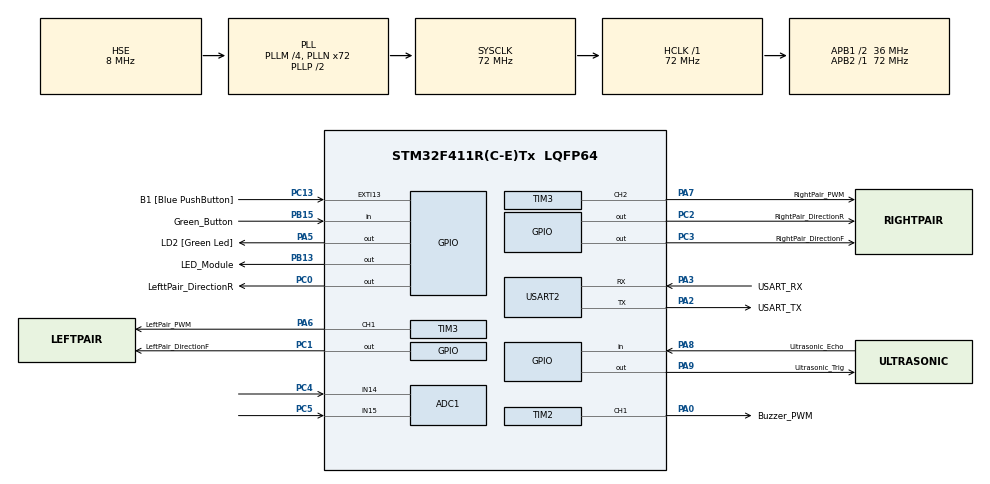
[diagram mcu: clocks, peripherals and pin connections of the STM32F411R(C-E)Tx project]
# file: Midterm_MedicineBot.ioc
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ADC1.Channel-0\#ChannelRegularConversion=ADC_CHANNEL_14
ADC1.NbrOfConversionFlag=1
ADC1.Rank-0\#ChannelRegularConversion=1
ADC1.SamplingTime-0\#ChannelRegularConversion=ADC_SAMPLETIME_3CYCLES
ADC1.master=1
FREERTOS.Tasks01=defaultTask,24,128,StartDefaultTask,Default,NULL,Dynamic,NULL,NULL
Mcu.Family=STM32F4
Mcu.Name=STM32F411R(C-E)Tx
Mcu.Package=LQFP64
NVIC.PriorityGroup=NVIC_PRIORITYGROUP_4
NVIC.TIM4_IRQn=true\:15\:0\:false\:false\:true\:false\:false\:true\:true
NVIC.TimeBase=TIM4_IRQn
NVIC.TimeBaseIP=TIM4
PA0-WKUP.GPIO_Label=Buzzer_PWM
PA0-WKUP.Signal=S_TIM2_CH1_ETR
PA13.GPIO_Label=TMS
PA13.Mode=Serial_Wire
PA13.Signal=SYS_JTMS-SWDIO
PA14.GPIO_Label=TCK
PA14.Mode=Serial_Wire
PA14.Signal=SYS_JTCK-SWCLK
PA2.GPIO_Label=USART_TX
PA2.Mode=Asynchronous
PA2.Signal=USART2_TX
PA3.GPIO_Label=USART_RX
PA3.Mode=Asynchronous
PA3.Signal=USART2_RX
PA5.GPIO_Label=LD2 [Green Led]
PA5.Signal=GPIO_Output
PA6.GPIO_Label=LeftPair_PWM
PA6.Signal=S_TIM3_CH1
PA7.GPIO_Label=RightPair_PWM
PA7.Signal=S_TIM3_CH2
PA8.GPIO_Label=Ultrasonic_Echo
PA8.Signal=GPIO_Input
PA9.GPIO_Label=Ultrasonic_Trig
PA9.Signal=GPIO_Output
PB13.GPIO_Label=LED_Module
PB13.Signal=GPIO_Output
PB15.GPIO_Label=Green_Button
PB15.Signal=GPIO_Input
PB3.GPIO_Label=SWO
PB3.Signal=SYS_JTDO-SWO
PC0.GPIO_Label=LefttPair_DirectionR
PC0.Signal=GPIO_Output
PC1.GPIO_Label=LeftPair_DirectionF
PC1.Signal=GPIO_Output
PC13-ANTI_TAMP.GPIO_Label=B1 [Blue PushButton]
PC13-ANTI_TAMP.GPIO_ModeDefaultEXTI=GPIO_MODE_IT_FALLING
PC13-ANTI_TAMP.Signal=GPXTI13
PC14-OSC32_IN.Signal=RCC_OSC32_IN
PC15-OSC32_OUT.Signal=RCC_OSC32_OUT
PC2.GPIO_Label=RightPair_DirectionR
PC2.Signal=GPIO_Output
PC3.GPIO_Label=RightPair_DirectionF
PC3.Signal=GPIO_Output
PC4.Signal=ADCx_IN14
PC5.Signal=ADCx_IN15
PH0\ -\ OSC_IN.Mode=HSE-External-Oscillator
PH0\ -\ OSC_IN.Signal=RCC_OSC_IN
PH1\ -\ OSC_OUT.Mode=HSE-External-Oscillator
PH1\ -\ OSC_OUT.Signal=RCC_OSC_OUT
ProjectManager.HeapSize=0x200
ProjectManager.StackSize=0x400
ProjectManager.TargetToolchain=STM32CubeIDE
RCC.48MHZClocksFreq_Value=36000000
RCC.AHBFreq_Value=72000000
RCC.APB1CLKDivider=RCC_HCLK_DIV2
RCC.APB1Freq_Value=36000000
RCC.APB1TimFreq_Value=72000000
RCC.APB2Freq_Value=72000000
RCC.APB2TimFreq_Value=72000000
RCC.CortexFreq_Value=72000000
RCC.FLatency-AdvancedSettings=FLASH_LATENCY_2
RCC.HCLKFreq_Value=72000000
RCC.HSE_VALUE=8000000
RCC.HSI_VALUE=16000000
RCC.LSE_VALUE=32768
RCC.PLLM=4
RCC.PLLN=72
RCC.PLLSourceVirtual=RCC_PLLSOURCE_HSE
RCC.SYSCLKFreq_VALUE=72000000
RCC.SYSCLKSource=RCC_SYSCLKSOURCE_PLLCLK
RCC.VCOOutputFreq_Value=144000000
SH.ADCx_IN14.0=ADC1_IN14,IN14
SH.ADCx_IN15.0=ADC1_IN15,IN15
SH.S_TIM2_CH1_ETR.0=TIM2_CH1,PWM Generation1 CH1
SH.S_TIM3_CH1.0=TIM3_CH1,PWM Generation1 CH1
SH.S_TIM3_CH2.0=TIM3_CH2,PWM Generation2 CH2
TIM1.AutoReloadPreload=TIM_AUTORELOAD_PRELOAD_ENABLE
TIM1.Period=65535
TIM1.Prescaler=71
TIM2.AutoReloadPreload=TIM_AUTORELOAD_PRELOAD_ENABLE
TIM2.Channel-PWM\ Generation1\ CH1=TIM_CHANNEL_1
TIM2.Period=65535
TIM2.Prescaler=71
TIM3.AutoReloadPreload=TIM_AUTORELOAD_PRELOAD_ENABLE
TIM3.Channel-PWM\ Generation1\ CH1=TIM_CHANNEL_1
TIM3.Channel-PWM\ Generation2\ CH2=TIM_CHANNEL_2
TIM3.Period=4095
TIM3.Prescaler=71
USART2.VirtualMode=VM_ASYNC
VP_FREERTOS_VS_CMSIS_V2.Mode=CMSIS_V2
VP_SYS_VS_tim4.Mode=TIM4
VP_TIM1_VS_ClockSourceINT.Mode=Internal
VP_TIM2_VS_ClockSourceINT.Mode=Internal
VP_TIM3_VS_ClockSourceINT.Mode=Internal
board=NUCLEO-F411RE

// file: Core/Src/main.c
/* USER CODE BEGIN Header */
/**
  ******************************************************************************
  * @file           : main.c
  * @brief          : Main program body
  ******************************************************************************
  * @attention
  *
  * Copyright (c) 2024 STMicroelectronics.
  * All rights reserved.
  *
  * This software is licensed under terms that can be found in the LICENSE file
  * in the root directory of this software component.
  * If no LICENSE file comes with this software, it is provided AS-IS.
  *
  ******************************************************************************
  */
/* USER CODE END Header */
#include "main.h"
#include "cmsis_os.h"
#include <string.h>
#include <stdio.h>

ADC_HandleTypeDef hadc1;

TIM_HandleTypeDef htim1;
TIM_HandleTypeDef htim2;
TIM_HandleTypeDef htim3;

UART_HandleTypeDef huart2;

/* Definitions for defaultTask */
osThreadId_t defaultTaskHandle;
const osThreadAttr_t defaultTask_attributes = {
  .name = "defaultTask",
  .stack_size = 128 * 4,
  .priority = (osPriority_t) osPriorityNormal,
};
/* USER CODE BEGIN PV */
volatile int status = 1;
volatile int lineTrackerLeft_Found = 0;
volatile int lineTrackerRight_Found = 0;

// For ULTRASONIC SENSOR measurements
#define TRIG_PIN GPIO_PIN_9
#define TRIG_PORT GPIOA
#define ECHO_PIN GPIO_PIN_8
#define ECHO_PORT GPIOA
uint32_t pMillis;
uint32_t Value1 = 0;
uint32_t Value2 = 0;
volatile uint16_t Distance  = 0;  // cm; //in a unit of cm
uint16_t currentDistance = 0;
uint16_t distanceLimit = 10; //in a unit of cm
// For LINE TRACKING sensor
volatile uint16_t lineL, lineR;
// For BUZZER melody
uint32_t OctaveFourCMajor[8] = {262, 294, 330, 349, 392, 440, 493, 523};
uint32_t OctaveFourCSharpMajor[8] = {277, 311, 349, 370, 415, 466, 523, 554};
uint32_t SingleMelody[1] = {415};
uint32_t WarningMelody[1] = {349};
uint32_t ExampleMelody[3] = {277, 349, 415};
uint8_t NoteIndex = 0;

// MULTITASKING handles
osThreadId_t measureDistanceHandle;
osThreadId_t detectLineHandle;
osThreadId_t buzzerMelodyHandle;
osThreadId_t blinkLEDHandle;

static void measureDistance() {
	// This function keeps running all the time
	while (1) {
		HAL_GPIO_WritePin(TRIG_PORT, TRIG_PIN, GPIO_PIN_SET);  // pull the TRIG pin HIGH
		__HAL_TIM_SET_COUNTER(&htim1, 0);
		while (__HAL_TIM_GET_COUNTER (&htim1) < 10);  // wait for 10 us
		HAL_GPIO_WritePin(TRIG_PORT, TRIG_PIN, GPIO_PIN_RESET);  // pull the TRIG pin low

		pMillis = HAL_GetTick(); // used this to avoid infinite while loop  (for timeout)
		// wait for the echo pin to go high
		while (!(HAL_GPIO_ReadPin (ECHO_PORT, ECHO_PIN)) && pMillis + 10 >  HAL_GetTick());
		Value1 = __HAL_TIM_GET_COUNTER (&htim1);

		pMillis = HAL_GetTick(); // used this to avoid infinite while loop (for timeout)
		// wait for the echo pin to go low
		while ((HAL_GPIO_ReadPin (ECHO_PORT, ECHO_PIN)) && pMillis + 50 > HAL_GetTick());
		Value2 = __HAL_TIM_GET_COUNTER (&htim1);

		Distance = (Value2-Value1)* 0.034/2;
		osDelay(10);
	}
}
static void detectLine() {
    uint32_t lineL, lineR;
    const uint32_t threshold = 300;  // Set threshold for black/white detection

    while (1) {

    	ADC_ChannelConfTypeDef sConfig = {0};
    		  /** Configure for the selected ADC regular channel its corresponding rank in the sequencer and its sample time.
    		  */
    		  sConfig.Channel = ADC_CHANNEL_14;
    		  sConfig.Rank = 1;
    		  //sConfig.SamplingTime = ADC_SAMPLETIME_28CYCLES;
    		  if (HAL_ADC_ConfigChannel(&hadc1, &sConfig) != HAL_OK)
    		  {
    		    Error_Handler();
    		  }
	    	HAL_ADC_Start(&hadc1);

	    	if (HAL_ADC_PollForConversion(&hadc1, 1000) == HAL_OK)
	    	{
	    		lineL = HAL_ADC_GetValue(&hadc1);
	    	}

	    	ADC_ChannelConfTypeDef sConfig2 = {0};
	    		  /** Configure for the selected ADC regular channel its corresponding rank in the sequencer and its sample time.
	    		  */
	    		  sConfig2.Channel = ADC_CHANNEL_15;
	    		  sConfig2.Rank = 2;
	    		  //sConfig.SamplngTime = ADC_SAMPLETIME_28CYCLES;
	    		  if (HAL_ADC_ConfigChannel(&hadc1, &sConfig2) != HAL_OK)
	    		  {
	    		    Error_Handler();
	    		  }
	    	HAL_ADC_Start(&hadc1);

	    	// Poll for conversion for the second channel
	    	if (HAL_ADC_PollForConversion(&hadc1, 1000) == HAL_OK)
	    	{
	    		lineR = HAL_ADC_GetValue(&hadc1);
	    	}

	    	lineTrackerLeft_Found = lineL;
	    	lineTrackerRight_Found = lineR;
//
//        if (lineL < threshold && lineR >= threshold) {
//        	lineTrackerLeft_Found = 0;
//        	lineTrackerRight_Found = 1;
//        }
//        else if (lineR < threshold && lineL >= threshold) {
//        	lineTrackerLeft_Found = 1;
//        	lineTrackerRight_Found = 0;
//        }
//        else if (lineL >= threshold && lineR >= threshold) {
//        	lineTrackerLeft_Found = 0;
//        	lineTrackerRight_Found = 0;
//        }
//        else if (lineL < threshold && lineR < threshold) {
//        	lineTrackerLeft_Found = 1;
//        	lineTrackerRight_Found = 1;
//        }

        osDelay(5);
    }
}

static void Tone(uint32_t Frequency, uint32_t Duration, int Volume) {
	TIM2->ARR = (1000000UL / Frequency) - 1; //Setting the PWM Frequency
	TIM2->CCR1 = (TIM2->ARR / 2 * Volume / 100); //Setting duty cycle to 50% (volume depending on frequency)
	HAL_Delay(Duration);
}

static void noTone() {
	TIM2->CCR1 = 0; //Mute by setting duty cycle 0%
}

static void buzzerMelody() {
	if (status == 1) {
		while (status == 1) {
			Tone(ExampleMelody[NoteIndex++], 250, 50);
			if (NoteIndex == 3) {
			  NoteIndex = 0;
			  noTone();
			  osDelay(2000);
			}
			osDelay(1000);
		}
	}
	else {
		noTone();
	}
}

static void blinkLED() {
	HAL_GPIO_WritePin(GPIOB, GPIO_PIN_13, GPIO_PIN_SET);
	if (status == 1) {
		while (status == 1) {
			HAL_GPIO_TogglePin(GPIOB, GPIO_PIN_13);
			osDelay(1000);
		}
		HAL_GPIO_WritePin(GPIOB, GPIO_PIN_13, GPIO_PIN_SET);
	}
}
// For SERIAL OUTPUT
char msg[256];
/* USER CODE END PV */

void SystemClock_Config(void);
static void MX_GPIO_Init(void);
static void MX_USART2_UART_Init(void);
static void MX_TIM1_Init(void);
static void MX_TIM3_Init(void);
static void MX_TIM2_Init(void);
static void MX_ADC1_Init(void);
void StartDefaultTask(void *argument);

/* USER CODE BEGIN PFP */
void driveCar(float powerL, float powerR, int direction);
static void Tone(uint32_t Frequency, uint32_t Duration, int Volume);
static void noTone();
static void detectLine();
/* USER CODE END PFP */

/* USER CODE BEGIN 0 */
void driveCar(float powerL, float powerR, int direction) {
	//Change the DIRECTION of the car
	switch (direction) {
	case 0: //Reverse direction
		HAL_GPIO_WritePin(GPIOC, GPIO_PIN_0, GPIO_PIN_RESET); //LEFT pair REVERSE off
		HAL_GPIO_WritePin(GPIOC, GPIO_PIN_1, GPIO_PIN_SET); //LEFT pair FORWARD on
		HAL_GPIO_WritePin(GPIOC, GPIO_PIN_2, GPIO_PIN_SET); //RIGHT pair reverse off
		HAL_GPIO_WritePin(GPIOC, GPIO_PIN_3, GPIO_PIN_RESET); //RIGHT pair forward on
	case 1: //Forward direction
		HAL_GPIO_WritePin(GPIOC, GPIO_PIN_0, GPIO_PIN_SET); //LEFT pair REVERSE off
		HAL_GPIO_WritePin(GPIOC, GPIO_PIN_1, GPIO_PIN_RESET); //LEFT pair FORWARD on
		HAL_GPIO_WritePin(GPIOC, GPIO_PIN_2, GPIO_PIN_RESET); //RIGHT pair reverse off
		HAL_GPIO_WritePin(GPIOC, GPIO_PIN_3, GPIO_PIN_SET); //RIGHT pair forward on
	}
	//Change the POWER OUTPUT of the car
	TIM3->CCR1 = 4095 * (powerL/100); //Duty time output per 100% power for LEFT pair
	TIM3->CCR2 = 4095 * (powerR/100); //Duty time output per 100% power for RIGHT pair
}

/* USER CODE END 0 */

int main(void)
{

  /* MCU Configuration--------------------------------------------------------*/

  /* Reset of all peripherals, Initializes the Flash interface and the Systick. */
  HAL_Init();

  /* Configure the system clock */
  SystemClock_Config();

  /* Initialize all configured peripherals */
  MX_GPIO_Init();
  MX_USART2_UART_Init();
  MX_TIM1_Init();
  MX_TIM3_Init();
  MX_TIM2_Init();
  MX_ADC1_Init();
  /* USER CODE BEGIN 2 */
  // Initialization for BUZZER
  HAL_TIM_PWM_Start(&htim2, TIM_CHANNEL_1); //For BUZZER
  // Initialization for WHEEL MOTORS
  HAL_TIM_PWM_Start(&htim3, TIM_CHANNEL_1); //For LEFT PWM
  HAL_TIM_PWM_Start(&htim3, TIM_CHANNEL_2); //For RIGHT PWM
  //driveCar(80, 80, 1);
  // Initialization for ULTRASONIC SENSOR
  HAL_TIM_Base_Start(&htim1);
  HAL_GPIO_WritePin(TRIG_PORT, TRIG_PIN, GPIO_PIN_RESET); //pulls TRIG pin to LOW
  // Variables
  /* USER CODE END 2 */

  /* Init scheduler */
  osKernelInitialize();

  /* Create the thread(s) */
  /* creation of defaultTask */
  defaultTaskHandle = osThreadNew(StartDefaultTask, NULL, &defaultTask_attributes);

  /* USER CODE BEGIN RTOS_THREADS */
  /* add threads, ... */
//  const osThreadAttr_t measureDistance_attributes = {
//		  .name = "measureDistance",
//		  .priority = (osPriority_t) osPriorityNormal,
//		  .stack_size = 128
//  };

//  const osThreadAttr_t detectLine_attributes = {
//		  .name = "detectLine",
//		  .priority = (osPriority_t) osPriorityNormal,
//		  .stack_size = 128
//  };
//
//  const osThreadAttr_t buzzerMelody_attributes = {
//		  .name = "buzzerMelody",
//		  .priority = (osPriority_t) osPriorityNormal,
//		  .stack_size = 128
//  };
////
//  const osThreadAttr_t blinkLED_attributes = {
//		  .name = "blinkLED",
//		  .priority = (osPriority_t) osPriorityNormal,
//		  .stack_size = 128
//  };
//
    //measureDistanceHandle = osThreadNew(measureDistance, NULL, &measureDistance_attributes);
//    //detectLineHandle = osThreadNew(detectLine, NULL, &detectLine_attributes);
//	  buzzerMelodyHandle = osThreadNew(buzzerMelody, NULL, &buzzerMelody_attributes);
//	  blinkLEDHandle = osThreadNew(blinkLED, NULL, &blinkLED_attributes);
  /* USER CODE END RTOS_THREADS */

  /* Start scheduler */
  osKernelStart();

  /* We should never get here as control is now taken by the scheduler */

  /* Infinite loop */
  /* USER CODE BEGIN WHILE */
  //while (1)
  //{
//	  HAL_Delay(50);
//
//	  detectLine();
//	  HAL_Delay(50);
//	  sprintf(msg, "hello world\r\n");
//	  HAL_UART_Transmit(&huart2, (uint8_t*)msg, strlen(msg), 1000);
    /* USER CODE END WHILE */

    /* USER CODE BEGIN 3 */
  //}
  /* USER CODE END 3 */
}

void SystemClock_Config(void)
{
  RCC_OscInitTypeDef RCC_OscInitStruct = {0};
  RCC_ClkInitTypeDef RCC_ClkInitStruct = {0};

  /** Configure the main internal regulator output voltage
  */
  __HAL_RCC_PWR_CLK_ENABLE();
  __HAL_PWR_VOLTAGESCALING_CONFIG(PWR_REGULATOR_VOLTAGE_SCALE1);

  /** Initializes the RCC Oscillators according to the specified parameters
  * in the RCC_OscInitTypeDef structure.
  */
  RCC_OscInitStruct.OscillatorType = RCC_OSCILLATORTYPE_HSE;
  RCC_OscInitStruct.HSEState = RCC_HSE_ON;
  RCC_OscInitStruct.PLL.PLLState = RCC_PLL_ON;
  RCC_OscInitStruct.PLL.PLLSource = RCC_PLLSOURCE_HSE;
  RCC_OscInitStruct.PLL.PLLM = 4;
  RCC_OscInitStruct.PLL.PLLN = 72;
  RCC_OscInitStruct.PLL.PLLP = RCC_PLLP_DIV2;
  RCC_OscInitStruct.PLL.PLLQ = 4;
  if (HAL_RCC_OscConfig(&RCC_OscInitStruct) != HAL_OK)
  {
    Error_Handler();
  }

  /** Initializes the CPU, AHB and APB buses clocks
  */
  RCC_ClkInitStruct.ClockType = RCC_CLOCKTYPE_HCLK|RCC_CLOCKTYPE_SYSCLK
                              |RCC_CLOCKTYPE_PCLK1|RCC_CLOCKTYPE_PCLK2;
  RCC_ClkInitStruct.SYSCLKSource = RCC_SYSCLKSOURCE_PLLCLK;
  RCC_ClkInitStruct.AHBCLKDivider = RCC_SYSCLK_DIV1;
  RCC_ClkInitStruct.APB1CLKDivider = RCC_HCLK_DIV2;
  RCC_ClkInitStruct.APB2CLKDivider = RCC_HCLK_DIV1;

  if (HAL_RCC_ClockConfig(&RCC_ClkInitStruct, FLASH_LATENCY_2) != HAL_OK)
  {
    Error_Handler();
  }
}

static void MX_ADC1_Init(void)
{

  ADC_ChannelConfTypeDef sConfig = {0};

  /** Configure the global features of the ADC (Clock, Resolution, Data Alignment and number of conversion)
  */
  hadc1.Instance = ADC1;
  hadc1.Init.ClockPrescaler = ADC_CLOCK_SYNC_PCLK_DIV4;
  hadc1.Init.Resolution = ADC_RESOLUTION_12B;
  hadc1.Init.ScanConvMode = ENABLE;
  hadc1.Init.ContinuousConvMode = ENABLE;
  hadc1.Init.DiscontinuousConvMode = DISABLE;
  hadc1.Init.ExternalTrigConvEdge = ADC_EXTERNALTRIGCONVEDGE_NONE;
  hadc1.Init.ExternalTrigConv = ADC_SOFTWARE_START;
  hadc1.Init.DataAlign = ADC_DATAALIGN_RIGHT;
  hadc1.Init.NbrOfConversion = 1;
  hadc1.Init.DMAContinuousRequests = DISABLE;
  hadc1.Init.EOCSelection = ADC_EOC_SINGLE_CONV;
  if (HAL_ADC_Init(&hadc1) != HAL_OK)
  {
    Error_Handler();
  }

  /** Configure for the selected ADC regular channel its corresponding rank in the sequencer and its sample time.
  */
  sConfig.Channel = ADC_CHANNEL_14;
  sConfig.Rank = 1;
  sConfig.SamplingTime = ADC_SAMPLETIME_3CYCLES;
  if (HAL_ADC_ConfigChannel(&hadc1, &sConfig) != HAL_OK)
  {
    Error_Handler();
  }

}

static void MX_TIM1_Init(void)
{

  TIM_ClockConfigTypeDef sClockSourceConfig = {0};
  TIM_MasterConfigTypeDef sMasterConfig = {0};

  htim1.Instance = TIM1;
  htim1.Init.Prescaler = 71;
  htim1.Init.CounterMode = TIM_COUNTERMODE_UP;
  htim1.Init.Period = 65535;
  htim1.Init.ClockDivision = TIM_CLOCKDIVISION_DIV1;
  htim1.Init.RepetitionCounter = 0;
  htim1.Init.AutoReloadPreload = TIM_AUTORELOAD_PRELOAD_ENABLE;
  if (HAL_TIM_Base_Init(&htim1) != HAL_OK)
  {
    Error_Handler();
  }
  sClockSourceConfig.ClockSource = TIM_CLOCKSOURCE_INTERNAL;
  if (HAL_TIM_ConfigClockSource(&htim1, &sClockSourceConfig) != HAL_OK)
  {
    Error_Handler();
  }
  sMasterConfig.MasterOutputTrigger = TIM_TRGO_RESET;
  sMasterConfig.MasterSlaveMode = TIM_MASTERSLAVEMODE_DISABLE;
  if (HAL_TIMEx_MasterConfigSynchronization(&htim1, &sMasterConfig) != HAL_OK)
  {
    Error_Handler();
  }

}

static void MX_TIM2_Init(void)
{

  TIM_ClockConfigTypeDef sClockSourceConfig = {0};
  TIM_MasterConfigTypeDef sMasterConfig = {0};
  TIM_OC_InitTypeDef sConfigOC = {0};

  htim2.Instance = TIM2;
  htim2.Init.Prescaler = 71;
  htim2.Init.CounterMode = TIM_COUNTERMODE_UP;
  htim2.Init.Period = 65535;
  htim2.Init.ClockDivision = TIM_CLOCKDIVISION_DIV1;
  htim2.Init.AutoReloadPreload = TIM_AUTORELOAD_PRELOAD_ENABLE;
  if (HAL_TIM_Base_Init(&htim2) != HAL_OK)
  {
    Error_Handler();
  }
  sClockSourceConfig.ClockSource = TIM_CLOCKSOURCE_INTERNAL;
  if (HAL_TIM_ConfigClockSource(&htim2, &sClockSourceConfig) != HAL_OK)
  {
    Error_Handler();
  }
  if (HAL_TIM_PWM_Init(&htim2) != HAL_OK)
  {
    Error_Handler();
  }
  sMasterConfig.MasterOutputTrigger = TIM_TRGO_RESET;
  sMasterConfig.MasterSlaveMode = TIM_MASTERSLAVEMODE_DISABLE;
  if (HAL_TIMEx_MasterConfigSynchronization(&htim2, &sMasterConfig) != HAL_OK)
  {
    Error_Handler();
  }
  sConfigOC.OCMode = TIM_OCMODE_PWM1;
  sConfigOC.Pulse = 0;
  sConfigOC.OCPolarity = TIM_OCPOLARITY_HIGH;
  sConfigOC.OCFastMode = TIM_OCFAST_DISABLE;
  if (HAL_TIM_PWM_ConfigChannel(&htim2, &sConfigOC, TIM_CHANNEL_1) != HAL_OK)
  {
    Error_Handler();
  }
  HAL_TIM_MspPostInit(&htim2);

}

static void MX_TIM3_Init(void)
{

  TIM_ClockConfigTypeDef sClockSourceConfig = {0};
  TIM_MasterConfigTypeDef sMasterConfig = {0};
  TIM_OC_InitTypeDef sConfigOC = {0};

  htim3.Instance = TIM3;
  htim3.Init.Prescaler = 71;
  htim3.Init.CounterMode = TIM_COUNTERMODE_UP;
  htim3.Init.Period = 4095;
  htim3.Init.ClockDivision = TIM_CLOCKDIVISION_DIV1;
  htim3.Init.AutoReloadPreload = TIM_AUTORELOAD_PRELOAD_ENABLE;
  if (HAL_TIM_Base_Init(&htim3) != HAL_OK)
  {
    Error_Handler();
  }
  sClockSourceConfig.ClockSource = TIM_CLOCKSOURCE_INTERNAL;
  if (HAL_TIM_ConfigClockSource(&htim3, &sClockSourceConfig) != HAL_OK)
  {
    Error_Handler();
  }
  if (HAL_TIM_PWM_Init(&htim3) != HAL_OK)
  {
    Error_Handler();
  }
  sMasterConfig.MasterOutputTrigger = TIM_TRGO_RESET;
  sMasterConfig.MasterSlaveMode = TIM_MASTERSLAVEMODE_DISABLE;
  if (HAL_TIMEx_MasterConfigSynchronization(&htim3, &sMasterConfig) != HAL_OK)
  {
    Error_Handler();
  }
  sConfigOC.OCMode = TIM_OCMODE_PWM1;
  sConfigOC.Pulse = 0;
  sConfigOC.OCPolarity = TIM_OCPOLARITY_HIGH;
  sConfigOC.OCFastMode = TIM_OCFAST_DISABLE;
  if (HAL_TIM_PWM_ConfigChannel(&htim3, &sConfigOC, TIM_CHANNEL_1) != HAL_OK)
  {
    Error_Handler();
  }
  if (HAL_TIM_PWM_ConfigChannel(&htim3, &sConfigOC, TIM_CHANNEL_2) != HAL_OK)
  {
    Error_Handler();
  }
  HAL_TIM_MspPostInit(&htim3);

}

static void MX_USART2_UART_Init(void)
{

  huart2.Instance = USART2;
  huart2.Init.BaudRate = 115200;
  huart2.Init.WordLength = UART_WORDLENGTH_8B;
  huart2.Init.StopBits = UART_STOPBITS_1;
  huart2.Init.Parity = UART_PARITY_NONE;
  huart2.Init.Mode = UART_MODE_TX_RX;
  huart2.Init.HwFlowCtl = UART_HWCONTROL_NONE;
  huart2.Init.OverSampling = UART_OVERSAMPLING_16;
  if (HAL_UART_Init(&huart2) != HAL_OK)
  {
    Error_Handler();
  }

}

static void MX_GPIO_Init(void)
{
  GPIO_InitTypeDef GPIO_InitStruct = {0};

  /* GPIO Ports Clock Enable */
  __HAL_RCC_GPIOC_CLK_ENABLE();
  __HAL_RCC_GPIOH_CLK_ENABLE();
  __HAL_RCC_GPIOA_CLK_ENABLE();
  __HAL_RCC_GPIOB_CLK_ENABLE();

  /*Configure GPIO pin Output Level */
  HAL_GPIO_WritePin(GPIOC, LefttPair_DirectionR_Pin|LeftPair_DirectionF_Pin|RightPair_DirectionR_Pin|RightPair_DirectionF_Pin, GPIO_PIN_RESET);

  /*Configure GPIO pin Output Level */
  HAL_GPIO_WritePin(GPIOA, LD2_Pin|Ultrasonic_Trig_Pin, GPIO_PIN_RESET);

  /*Configure GPIO pin Output Level */
  HAL_GPIO_WritePin(LED_Module_GPIO_Port, LED_Module_Pin, GPIO_PIN_RESET);

  /*Configure GPIO pin : B1_Pin */
  GPIO_InitStruct.Pin = B1_Pin;
  GPIO_InitStruct.Mode = GPIO_MODE_IT_FALLING;
  GPIO_InitStruct.Pull = GPIO_NOPULL;
  HAL_GPIO_Init(B1_GPIO_Port, &GPIO_InitStruct);

  /*Configure GPIO pins : LefttPair_DirectionR_Pin LeftPair_DirectionF_Pin RightPair_DirectionR_Pin RightPair_DirectionF_Pin */
  GPIO_InitStruct.Pin = LefttPair_DirectionR_Pin|LeftPair_DirectionF_Pin|RightPair_DirectionR_Pin|RightPair_DirectionF_Pin;
  GPIO_InitStruct.Mode = GPIO_MODE_OUTPUT_PP;
  GPIO_InitStruct.Pull = GPIO_NOPULL;
  GPIO_InitStruct.Speed = GPIO_SPEED_FREQ_LOW;
  HAL_GPIO_Init(GPIOC, &GPIO_InitStruct);

  /*Configure GPIO pins : LD2_Pin Ultrasonic_Trig_Pin */
  GPIO_InitStruct.Pin = LD2_Pin|Ultrasonic_Trig_Pin;
  GPIO_InitStruct.Mode = GPIO_MODE_OUTPUT_PP;
  GPIO_InitStruct.Pull = GPIO_NOPULL;
  GPIO_InitStruct.Speed = GPIO_SPEED_FREQ_LOW;
  HAL_GPIO_Init(GPIOA, &GPIO_InitStruct);

  /*Configure GPIO pin : LED_Module_Pin */
  GPIO_InitStruct.Pin = LED_Module_Pin;
  GPIO_InitStruct.Mode = GPIO_MODE_OUTPUT_PP;
  GPIO_InitStruct.Pull = GPIO_NOPULL;
  GPIO_InitStruct.Speed = GPIO_SPEED_FREQ_LOW;
  HAL_GPIO_Init(LED_Module_GPIO_Port, &GPIO_InitStruct);

  /*Configure GPIO pin : Green_Button_Pin */
  GPIO_InitStruct.Pin = Green_Button_Pin;
  GPIO_InitStruct.Mode = GPIO_MODE_INPUT;
  GPIO_InitStruct.Pull = GPIO_NOPULL;
  HAL_GPIO_Init(Green_Button_GPIO_Port, &GPIO_InitStruct);

  /*Configure GPIO pin : Ultrasonic_Echo_Pin */
  GPIO_InitStruct.Pin = Ultrasonic_Echo_Pin;
  GPIO_InitStruct.Mode = GPIO_MODE_INPUT;
  GPIO_InitStruct.Pull = GPIO_NOPULL;
  HAL_GPIO_Init(Ultrasonic_Echo_GPIO_Port, &GPIO_InitStruct);

}

void ADC_Select_CH14 (void)
{
	ADC_ChannelConfTypeDef sConfig = {0};
	  /** Configure for the selected ADC regular channel its corresponding rank in the sequencer and its sample time.
	  */
	  sConfig.Channel = ADC_CHANNEL_14;
	  sConfig.Rank = 1;
	  //sConfig.SamplingTime = ADC_SAMPLETIME_28CYCLES;
	  if (HAL_ADC_ConfigChannel(&hadc1, &sConfig) != HAL_OK)
	  {
	    Error_Handler();
	  }
}

void ADC_Select_CH15 (void)
{
	ADC_ChannelConfTypeDef sConfig = {0};
	  /** Configure for the selected ADC regular channel its corresponding rank in the sequencer and its sample time.
	  */
	  sConfig.Channel = ADC_CHANNEL_15;
	  sConfig.Rank = 1;
	  //sConfig.SamplingTime = ADC_SAMPLETIME_84CYCLES;
	  if (HAL_ADC_ConfigChannel(&hadc1, &sConfig) != HAL_OK)
	  {
	    Error_Handler();
	  }
}

void StartDefaultTask(void *argument)
{
  /* USER CODE BEGIN 5 */
	//driveCar(100, 100, 1);
  /* Infinite loop */
  for(;;)
  {
	  //sprintf(msg, "Distance: %d\r\n", Distance);
	  //HAL_UART_Transmit(&huart2, (uint8_t*)msg, strlen(msg), 1000);
	  //sprintf(msg, "Left found: %d Right found: %d\r\n", lineTrackerLeft_Found, lineTrackerRight_Found);
	  //HAL_UART_Transmit(&huart2, (uint8_t*)msg, strlen(msg), 1000);

	  // Line tracker

	  uint16_t lineL = 0;
	  uint16_t lineR = 0;
	  uint16_t distance = 0;
	  uint16_t threshold = 1000;

	  char buf[256];

	  ADC_Select_CH14();
	  HAL_ADC_Start(&hadc1);

	  // Poll for conversion for the first channel
	  if (HAL_ADC_PollForConversion(&hadc1, 1000) == HAL_OK)
	  {
		  lineL = HAL_ADC_GetValue(&hadc1);
	  }

	  ADC_Select_CH15();
	  HAL_ADC_Start(&hadc1);

	  // Poll for conversion for the second channel
	  if (HAL_ADC_PollForConversion(&hadc1, 1000) == HAL_OK)
	  {
		  lineR = HAL_ADC_GetValue(&hadc1);
	  }

	  // Read UltraSonic

	  HAL_GPIO_WritePin(TRIG_PORT, TRIG_PIN, GPIO_PIN_SET);  // pull the TRIG pin HIGH
	  __HAL_TIM_SET_COUNTER(&htim1, 0);
	  while (__HAL_TIM_GET_COUNTER (&htim1) < 10);  // wait for 10 us
	  HAL_GPIO_WritePin(TRIG_PORT, TRIG_PIN, GPIO_PIN_RESET);  // pull the TRIG pin low

	  pMillis = HAL_GetTick(); // used this to avoid infinite while loop  (for timeout)
	  		// wait for the echo pin to go high
	  while (!(HAL_GPIO_ReadPin (ECHO_PORT, ECHO_PIN)) && pMillis + 10 >  HAL_GetTick());
	  Value1 = __HAL_TIM_GET_COUNTER (&htim1);

	  pMillis = HAL_GetTick(); // used this to avoid infinite while loop (for timeout)
	  // wait for the echo pin to go low
	  while ((HAL_GPIO_ReadPin (ECHO_PORT, ECHO_PIN)) && pMillis + 50 > HAL_GetTick());
	  Value2 = __HAL_TIM_GET_COUNTER (&htim1);

	  distance = (Value2-Value1)* 0.034/2;
	  osDelay(10);

	  // Print

	  sprintf(msg, "Light: %d %d | Distance: %d \r\n", lineL, lineR, distance);
	  HAL_UART_Transmit(&huart2, (uint8_t*)msg, strlen(msg), 1000);

	  HAL_GPIO_WritePin(GPIOB, GPIO_PIN_13, GPIO_PIN_SET);

	  driveCar(100, 100, 1);

	  // Logic
	  if(distance < 20) {
		  driveCar(0, 0, 1);
		  while(1) {
			  Tone(ExampleMelody[NoteIndex++], 250, 50);
			  if (NoteIndex == 3) {
			  	NoteIndex = 0;
			  	noTone();
			  	osDelay(1000);
			  	break;
			  }
			  noTone();
		  }

		  for (int i = 0; i < 4; i++) {
			  HAL_GPIO_TogglePin(GPIOB, GPIO_PIN_13);
			  osDelay(500);
		  }
	  }
	  else {
		  driveCar(100, 100, 1);
	  }
//	  else {
//		  // Logic to control car based on line sensor readings
//		  if (lineL < threshold && lineR < threshold) {
//		      // Both sensors are off the line (white surface), stop or search for the line
//			  driveCar(0, 0, 1); // Stop
//		  }
//		  else if (lineL > threshold && lineR < threshold) {
//		      // Left sensor on line, right sensor off line, turn left
//		      driveCar(90, 50, 1); // Turn left with reduced speed on the left motor
//		  }
//		  else if (lineL < threshold && lineR > threshold) {
//		      // Right sensor on line, left sensor off line, turn right
//		      driveCar(50, 90, 1); // Turn right with reduced speed on the right motor
//		  }
//		  else {
//		     // Both sensors are on the line (black surface), move straight
//		      driveCar(90, 90, 1); // Move forward
//		  }
//	  }

	    //HAL_Delay(50);  // Add some delay between readings

//	  if(Distance < 20) {
//
//
//
//
//		  		    HAL_GPIO_TogglePin(GPIOB, GPIO_PIN_13);
//		  		    		      osDelay(1000);
//		  		    		    HAL_GPIO_TogglePin(GPIOB, GPIO_PIN_13);
//		  		    		    		      osDelay(1000);
//		  HAL_GPIO_WritePin(GPIOB, GPIO_PIN_13, GPIO_PIN_SET);
//	  }
//	  else {
//		  driveCar(100, 100, 1);
//	  }

//	  char msg[256];
//	  sprintf(msg, "Left found: %d Right found: %d\r\n", lineTrackerLeft_Found, lineTrackerRight_Found);
//	  HAL_UART_Transmit(&huart2, (uint8_t*)msg, strlen(msg), 1000);
//

	  osDelay(50);

  }
  /* USER CODE END 5 */
}

void HAL_TIM_PeriodElapsedCallback(TIM_HandleTypeDef *htim)
{
  if (htim->Instance == TIM4) {
    HAL_IncTick();
  }
}

void Error_Handler(void)
{
  /* USER CODE BEGIN Error_Handler_Debug */
  /* User can add his own implementation to report the HAL error return state */
	sprintf(msg, "Error Error");
	HAL_UART_Transmit(&huart2, (uint8_t*)msg, strlen(msg), 1000);

  __disable_irq();
  while (1)
  {
  }
  /* USER CODE END Error_Handler_Debug */
}
